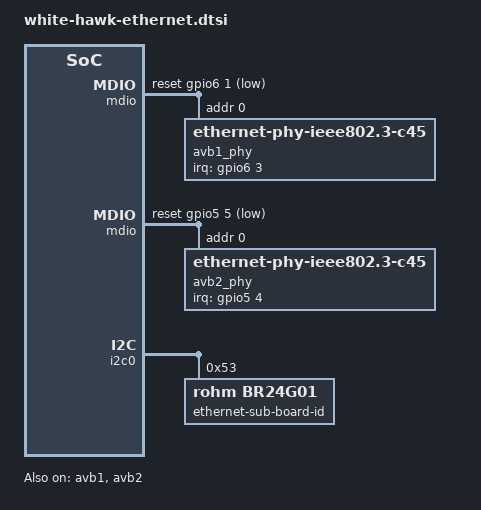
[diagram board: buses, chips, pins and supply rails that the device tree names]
// SPDX-License-Identifier: (GPL-2.0-only OR BSD-2-Clause)
/*
 * Device Tree Source for the White Hawk RAVB/Ethernet(1000Base-T1)
 * sub-board
 *
 * Copyright (C) 2022 Glider bv
 */

/ {
	aliases {
		ethernet1 = &avb1;
		ethernet2 = &avb2;
	};
};

&avb1 {
	pinctrl-0 = <&avb1_pins>;
	pinctrl-names = "default";
	phy-handle = <&avb1_phy>;
	status = "okay";

	mdio {
		#address-cells = <1>;
		#size-cells = <0>;

		reset-gpios = <&gpio6 1 GPIO_ACTIVE_LOW>;
		reset-post-delay-us = <4000>;

		avb1_phy: ethernet-phy@0 {
			compatible = "ethernet-phy-ieee802.3-c45";
			reg = <0>;
			interrupt-parent = <&gpio6>;
			interrupts = <3 IRQ_TYPE_LEVEL_LOW>;
		};
	};
};

&avb2 {
	pinctrl-0 = <&avb2_pins>;
	pinctrl-names = "default";
	phy-handle = <&avb2_phy>;
	status = "okay";

	mdio {
		#address-cells = <1>;
		#size-cells = <0>;

		reset-gpios = <&gpio5 5 GPIO_ACTIVE_LOW>;
		reset-post-delay-us = <4000>;

		avb2_phy: ethernet-phy@0 {
			compatible = "ethernet-phy-ieee802.3-c45";
			reg = <0>;
			interrupt-parent = <&gpio5>;
			interrupts = <4 IRQ_TYPE_LEVEL_LOW>;
		};
	};
};

&i2c0 {
	eeprom@53 {
		compatible = "rohm,br24g01", "atmel,24c01";
		label = "ethernet-sub-board-id";
		reg = <0x53>;
		pagesize = <8>;
	};
};

&pfc {
	avb1_pins: avb1 {
		mux {
			groups = "avb1_link", "avb1_mdio", "avb1_rgmii",
				 "avb1_txcrefclk";
			function = "avb1";
		};

		mdio {
			groups = "avb1_mdio";
			drive-strength = <24>;
			bias-disable;
		};

		rgmii {
			groups = "avb1_rgmii";
			drive-strength = <24>;
			bias-disable;
		};

		link {
			groups = "avb1_link";
			bias-disable;
		};
	};

	avb2_pins: avb2 {
		mux {
			groups = "avb2_link", "avb2_mdio", "avb2_rgmii",
				 "avb2_txcrefclk";
			function = "avb2";
		};

		mdio {
			groups = "avb2_mdio";
			drive-strength = <24>;
			bias-disable;
		};

		rgmii {
			groups = "avb2_rgmii";
			drive-strength = <24>;
			bias-disable;
		};

		link {
			groups = "avb2_link";
			bias-disable;
		};
	};
};
